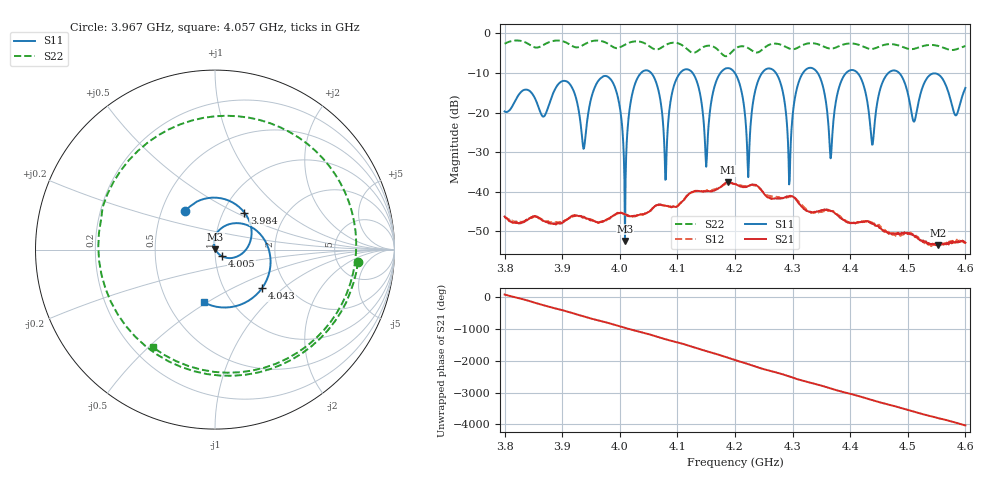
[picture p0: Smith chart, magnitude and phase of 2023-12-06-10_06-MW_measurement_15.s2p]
!Created with skrf (http://scikit-rf.org).
# Hz S RI R 50.0
!freq ReS11 ImS11 ReS21 ImS21 ReS12 ImS12 ReS22 ImS22
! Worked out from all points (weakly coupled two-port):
!   801 points, 3.8 GHz to 4.6 GHz, reference 50 ohm
!   highest |S21| = -37.59 dB at 4.188 GHz (marker M1); lowest = -53.5 dB at 4.553 GHz (marker M2)
!   lowest |S11| = -52.4 dB at 4.009 GHz (marker M3), VSWR 1.00, Z = 50.2 + j0.107 ohm
!   |S11| at or under -10 dB: start of sweep to 4.037 GHz; 4.413 GHz to 4.466 GHz (53.74 MHz wide, 1.21 % of centre); 4.485 GHz to end of sweep (the widest 3 of 8)
!   |S22| runs from -5.8 to -1.8 dB; largest |S21 - S12| = 0.0013
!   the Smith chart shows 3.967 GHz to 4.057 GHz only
!   S11 on the Smith chart (normalised r, x): 3.967 GHz: 0.66, +0.30; 3.984 GHz: 1.26, +0.56; 4.005 GHz: 1.08, -0.08; 4.043 GHz: 1.50, -0.73; 4.057 GHz: 0.75, -0.48
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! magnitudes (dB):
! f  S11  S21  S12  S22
! 3.8 GHz  -19.7  -46.2  -46.3  -2.7
! 3.934 GHz  -25.6  -46.3  -46.2  -3.2
! 3.967 GHz  -11.3  -47.6  -47.6  -1.9
! 3.984 GHz  -11.6  -46.4  -46.5  -3.1
! 4.005 GHz  -25.3  -45.4  -45.5  -3.2
! 4.009 GHz  -52.4  -45.7  -45.7  -2.9
! 4.043 GHz  -9.4  -45.5  -45.6  -2.5
! 4.057 GHz  -10.5  -44.1  -44.2  -3.8
! 4.067 GHz  -14.3  -43.2  -43.4  -4.0
! 4.08 GHz  -36.8  -43.6  -43.6  -2.9
! 4.125 GHz  -9.8  -40.1  -40.1  -4.8
! 4.15 GHz  -33.7  -39.8  -39.7  -3.2
! 4.188 GHz  -8.8  -37.6  -37.9  -5.6
! 4.2 GHz  -10.1  -38.0  -38.1  -3.9
! 4.223 GHz  -36.3  -38.6  -38.4  -3.7
! 4.271 GHz  -10.0  -41.7  -41.2  -2.6
! 4.294 GHz  -38.1  -41.1  -41.3  -3.8
! 4.334 GHz  -8.8  -45.1  -45.2  -2.5
! 4.366 GHz  -31.5  -44.9  -44.8  -3.9
! 4.467 GHz  -9.9  -50.6  -50.3  -2.7
! 4.553 GHz  -10.4  -53.5  -53.6  -3.2
! 4.6 GHz  -13.8  -52.8  -52.8  -3.2
